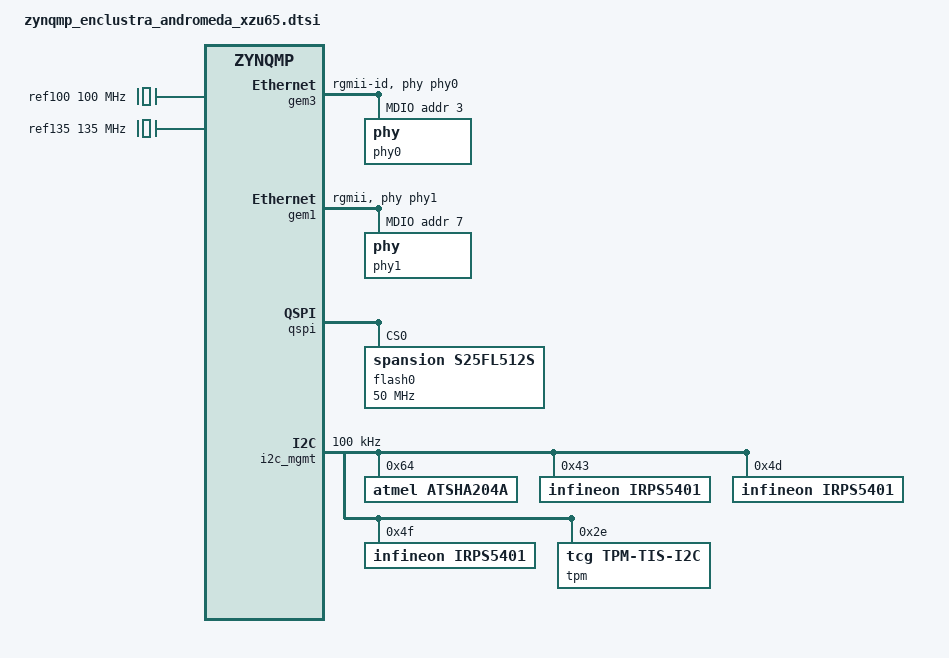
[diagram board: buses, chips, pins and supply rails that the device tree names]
/ {
	aliases {
		i2c0 = &i2c_mgmt;
		i2c1 = &i2c_user;
	};
};

&gem3 {
	/delete-property/ local-mac-address;
	// mode=rgmii-id enables additional 2ns RX and TX clock delay
	phy-mode = "rgmii-id";
	phy-handle = <&phy0>;
	mdio {
		// KSZ9131
		phy0: phy@3 {
			reg = <3>;

			// 2 ns TX clock delay
			txc-skew-psec = <0>;
			txen-skew-psec = <0>;

			txd0-skew-psec = <0>;
			txd1-skew-psec = <0>;
			txd2-skew-psec = <0>;
			txd3-skew-psec = <0>;

			// 2 ns RX clock delay
			rxc-skew-psec = <0>;
			rxdv-skew-psec = <0>;

			rxd0-skew-psec = <0>;
			rxd1-skew-psec = <0>;
			rxd2-skew-psec = <0>;
			rxd3-skew-psec = <0>;
		};
	};
};

&gem1 {
	/delete-property/ local-mac-address;
	// mode=rgmii disables additional 2ns RX and TX clock delay
	phy-mode = "rgmii";
	phy-handle = <&phy1>;
	mdio {
		// KSZ9131
		phy1: phy@7 {
			reg = <7>;

			// 0 ns TX clock delay
			txc-skew-psec = <0>;
			txen-skew-psec = <0>;

			txd0-skew-psec = <0>;
			txd1-skew-psec = <0>;
			txd2-skew-psec = <0>;
			txd3-skew-psec = <0>;

			// -0.29 ns RX clock delay
			rxc-skew-psec = <(-700)>;
			rxdv-skew-psec = <0>;

			rxd0-skew-psec = <0>;
			rxd1-skew-psec = <0>;
			rxd2-skew-psec = <0>;
			rxd3-skew-psec = <0>;
		};
	};
};

&qspi {
	#address-cells = <1>;
	#size-cells = <0>;
	is-dual = <1>;
	num-cs = <2>;
	flash0: flash@0 {
		reg = <0x0>;
		compatible = "spansion,s25fl512s", "jedec,spi-nor";
		parallel-memories = /bits/ 64 <0x4000000 0x4000000>; /* 128MB */
		spi-rx-bus-width = <0x4>;
		spi-tx-bus-width = <0x4>;
		spi-max-frequency = <50000000>;
		#address-cells = <1>;
		#size-cells = <1>;
	};
};

&psgtr {
	clocks = <&ref100>, <&ref135>;
	clock-names = "ref2", "ref3";
};

&amba {
	ref100: ref100M {
		compatible = "fixed-clock";
		#clock-cells = <0>;
		clock-frequency = <100000000>;
	};
	ref135: ref135M {
		compatible = "fixed-clock";
		#clock-cells = <0>;
		clock-frequency = <135000000>;
	};
	i2c_mgmt: i2c@ff020000 {
		clock-frequency = <100000>;
		atsha204a@64 {
			compatible = "atmel,atsha204a";
			reg = <0x64>;
		};
		irps5401@43 {
			compatible = "infineon,irps5401";
			reg = <0x43>;
		};
		irps5401@4d {
			compatible = "infineon,irps5401";
			reg = <0x4d>;
		};
		irps5401@4f {
			compatible = "infineon,irps5401";
			reg = <0x4f>;
		};
		tpm@2e {
			compatible = "tcg,tpm-tis-i2c";
			reg = <0x2e>;
		};
	};
	i2c_user: i2c@ff030000 {
		clock-frequency = <100000>;
	};
};
